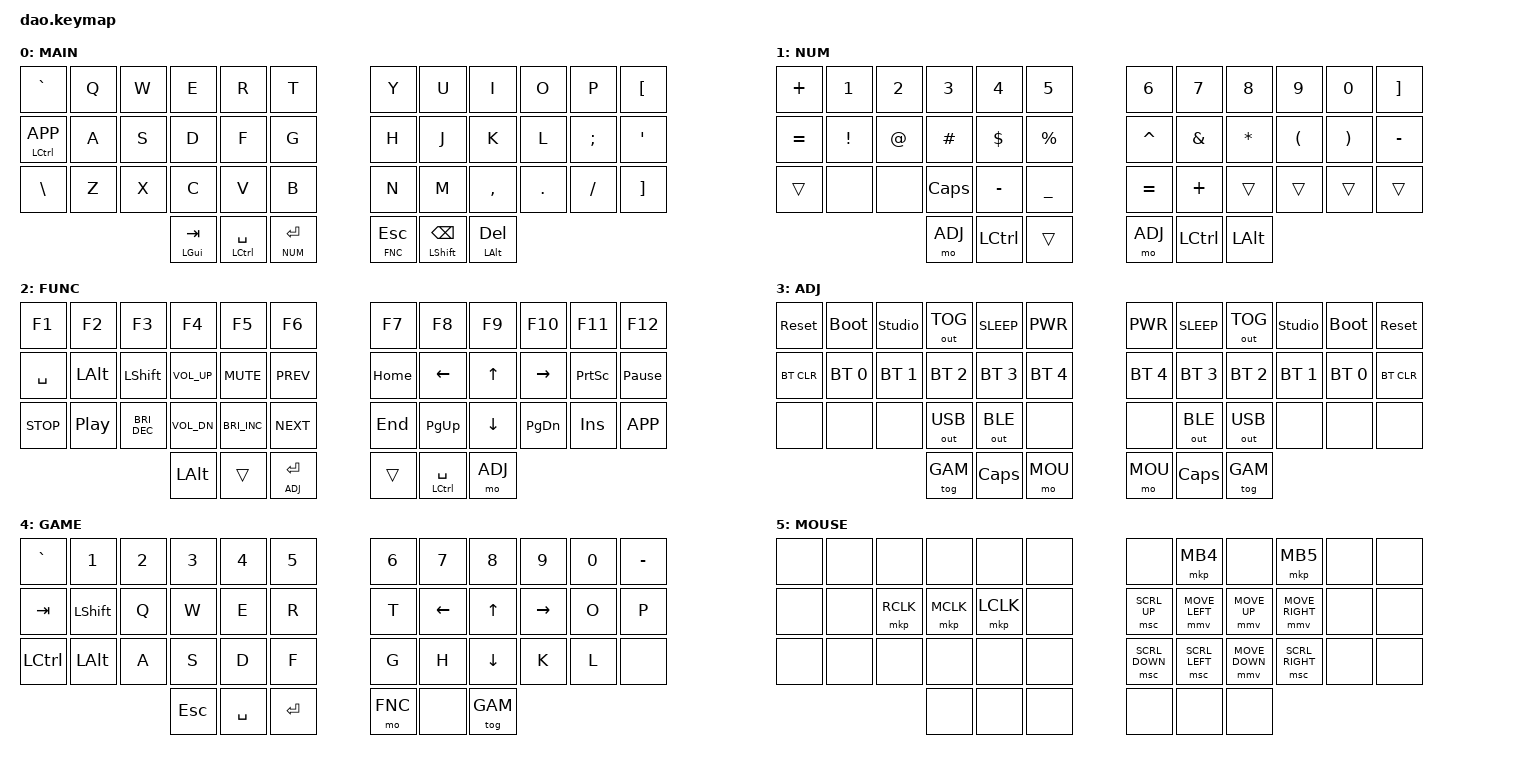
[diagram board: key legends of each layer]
/*
 * Copyright (c) 2021 Rafael Yumagulov
 *
 * SPDX-License-Identifier: MIT
 */

#define ZMK_POINTING_DEFAULT_MOVE_VAL 800  // default: 600
#define ZMK_POINTING_DEFAULT_SCRL_VAL 20    // default: 10

#include <behaviors.dtsi>
#include <dt-bindings/zmk/keys.h>
#include <dt-bindings/zmk/bt.h>
#include <dt-bindings/zmk/pointing.h>
#include <dt-bindings/zmk/outputs.h>

#define DEF 0
#define NUM 1
#define FNC 2
#define ADJ 3
#define GAM 4
#define MOU 5

&lt { quick-tap-ms = <200>; };
&mt { quick-tap-ms = <200>; };

/ {
    chosen {
        zmk,physical_layout = &dao_crkbd_layout;
        // zmk,physical_layout = &dao_full_layout;
    };
};

/ {

        keymap {
                compatible = "zmk,keymap";

                default_layer {

                        display-name = "MAIN"; 
// -----------------------------------------------------------------------------------------
// |  ~  |  Q  |  W  |  E  |  R  |  T  |   |  Y  |  U   |  I  |  O  |  P  |  [  |
// | App |  A  |  S  |  D  |  F  |  G  |   |  H  |  J   |  K  |  L  |  ;  |  '  |
// |  \  |  Z  |  X  |  C  |  V  |  B  |   |  N  |  M   |  ,  |  .  |  /  |  ]  |
//          |Tab/Super|SPC/Ctrl|NUM/Ret|   |FNC/Esc|BKSP/shft|Alt/Del|
                        bindings = <
   &kp GRAVE       &kp Q    &kp W   &kp E   &kp R   &kp T       &kp Y    &kp U   &kp I     &kp O   &kp P    &kp LBKT
   &mt LCTRL K_APP &kp A    &kp S   &kp D   &kp F   &kp G       &kp H    &kp J   &kp K     &kp L   &kp SEMI &kp SQT
   &kp BSLH        &kp Z    &kp X   &kp C   &kp V   &kp B       &kp N    &kp M   &kp COMMA &kp DOT &kp FSLH &kp RBKT
             &mt LGUI TAB   &mt LCTRL SPACE   &lt NUM RET       &lt FNC ESC  &mt LSHFT BSPC  &mt LALT DEL
                        >;
                };
                number_layer {

                        display-name = "NUM";
// -----------------------------------------------------------------------------------------
// |  +  |  1  |  2  |  3  |  4  |  5  |   |  6  |  7  |  8  |  9  |  0  |  ]  |
// |  =  |  !  |  @  |  #  |  $  |  %  |   |  ^  |  &  |  *  |  (  |  )  |  -  |
// |  \  |     |     | CAPS|  -  |  _  |   |  =  |  +  |  ,  |  .  |  /  |     |
//                   | ADJ | CTRL|trans|   | ADJ | CTRL| ALT |
                        bindings = <
   &kp PLUS  &kp N1   &kp N2 &kp N3   &kp N4    &kp N5   	&kp N6    &kp N7    &kp N8   &kp N9   &kp N0   &kp RBKT
   &kp EQUAL &kp EXCL &kp AT &kp HASH &kp DLLR  &kp PRCNT	&kp CARET &kp AMPS  &kp STAR &kp LPAR &kp RPAR &kp MINUS
   &trans &none &none    &kp CAPSLOCK &kp MINUS &kp UNDER	&kp EQUAL &kp PLUS  &trans   &trans   &trans   &trans
                             &mo ADJ  &kp LCTRL &trans   	&mo ADJ   &kp LCTRL &kp LALT
                        >;
                };

                function_layer {

                        display-name = "FUNC";
// -----------------------------------------------------------------------------------------
// |  F1  |  F2 |  F3 |  F4 |  F5 |  F6 |   |  F7 |  F8 |  F9 | F10 | F11 | F12 |
// | SPACE| ALT |LSHFT| VOLU| MUT | PREV|   | HOME| PGUP|  UP | PGDN|PSCRN|PAUSE|
// | STOP | PLAY| BR- | VOLD| BR+ | NEXT|   | END | LEFT| DOWN| RGHT| INS | App |
//                    | ALT|SPC/Ctrl|ADJ|   |    |SPC/Ctrl|ADJ|
                        bindings = <
   &kp F1     &kp F2   &kp F3        &kp F4       &kp F5        &kp F6          &kp F7   &kp F8    &kp F9   &kp F10   &kp F11   &kp F12
   &kp SPACE  &kp LALT &kp LSHFT     &kp C_VOL_UP &kp C_MUTE    &kp C_PREV      &kp HOME &kp LEFT  &kp UP   &kp RIGHT &kp PSCRN &kp PAUSE_BREAK
   &kp C_STOP &kp C_PP &kp C_BRI_DEC &kp C_VOL_DN &kp C_BRI_INC &kp C_NEXT      &kp END  &kp PG_UP &kp DOWN &kp PG_DN &kp INS   &kp K_APP
                                     &kp LALT     &trans        &lt ADJ RET     &trans   &mt LCTRL SPACE    &mo ADJ
                        >;
                };
                adjust_layer {

                        display-name = "ADJ";
// -----------------------------------------------------------------------------------------
// | RST | BLDR|STU_U| TOG |SLEEP| PWR |   | PWR |SLEEP| TOG |STU_U| BLDR| RST |
// |BTCLR| BT0 | BT1 | BT2 | BT3 | BT4 |   | BT4 | BT3 | BT2 | BT1 | BT0 |BTCLR|
// |     |     |     | USB | BLE |     |   |     | BLE | USB |     |     |     |
//                   | GAM | CAPS| MOU |   | MOU | CAPS| GAM |
                        bindings = <
   &sys_reset &bootloader  &studio_unlock &out OUT_TOG &kp C_SLEEP  &kp C_PWR     &kp C_PWR    &kp C_SLEEP  &out OUT_TOG &studio_unlock &bootloader  &sys_reset
   &bt BT_CLR &bt BT_SEL 0 &bt BT_SEL 1   &bt BT_SEL 2 &bt BT_SEL 3 &bt BT_SEL 4  &bt BT_SEL 4 &bt BT_SEL 3 &bt BT_SEL 2 &bt BT_SEL 1   &bt BT_SEL 0 &bt BT_CLR
   &none      &none        &none          &out OUT_USB &out OUT_BLE &none         &none        &out OUT_BLE &out OUT_USB &none          &none        &none
                                          &tog GAM     &kp CAPSLOCK &mo MOU       &mo MOU      &kp CAPSLOCK &tog GAM
                        >;
                };
                game_layer {

                        display-name = "GAME";
// -----------------------------------------------------------------------------------------
// |  `  |  1  |  2  |  3  |  4  |  5  |   |  6  |  7  |  8  |  9  |  0  |  -  |
// | TAB |SHIFT|  Q  |  W  |  E  |  R  |   |  T  | LEFT|  UP |RIGHT|  O  |  P  |
// | CTRL| ALT |  A  |  S  |  D  |  F  |   |  G  |  H  | DOWN|  K  |  L  |     |
//                   | ESC |SPACE| RET |   | FNC |     | GAM |
                        bindings = <
    &kp GRAVE &kp N1    &kp N2 &kp N3  &kp N4    &kp N5           &kp N6  &kp N7   &kp N8   &kp N9    &kp N0 &kp MINUS
    &kp TAB   &kp LSHFT &kp Q  &kp W   &kp E     &kp R            &kp T   &kp LEFT &kp UP   &kp RIGHT &kp O  &kp P
    &kp LCTRL &kp LALT  &kp A  &kp S   &kp D     &kp F            &kp G   &kp H    &kp DOWN &kp K     &kp L  &none
                               &kp ESC &kp SPACE &kp RET          &mo FNC &none    &tog GAM
                        >;
                };
                mouse_layer {

                        display-name = "MOUSE";
// -----------------------------------------------------------------------------------------
// |     |     |      |      |      |     |   |       |  MB4  |       |  MB5  |     |     |
// |     |     | RCLK | MCLK | LCLK |     |   | SC_UP | MV_LT | MV_UP | MV_RT |     |     |
// |     |     |      |      |      |     |   | SC_DN | SC_LT | MV_DN | SC_RT |     |     |
//                    |      |      |     |   |       |       |       |
                        bindings = <
    &none &none &none     &none     &none     &none       &none          &mkp MB4       &none          &mkp MB5        &none &none
    &none &none &mkp RCLK &mkp MCLK &mkp LCLK &none       &msc SCRL_UP   &mmv MOVE_LEFT &mmv MOVE_UP   &mmv MOVE_RIGHT &none &none
    &none &none &none     &none     &none     &none       &msc SCRL_DOWN &msc SCRL_LEFT &mmv MOVE_DOWN &msc SCRL_RIGHT &none &none
                          &none     &none     &none       &none          &none          &none
                        >;
                };
        };
};
